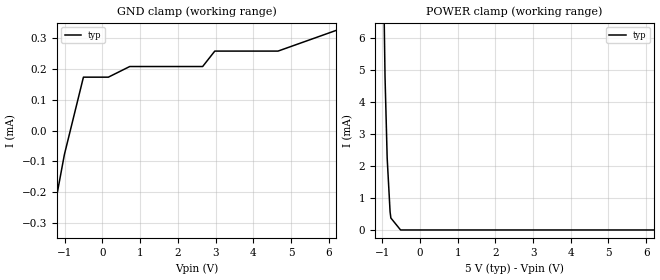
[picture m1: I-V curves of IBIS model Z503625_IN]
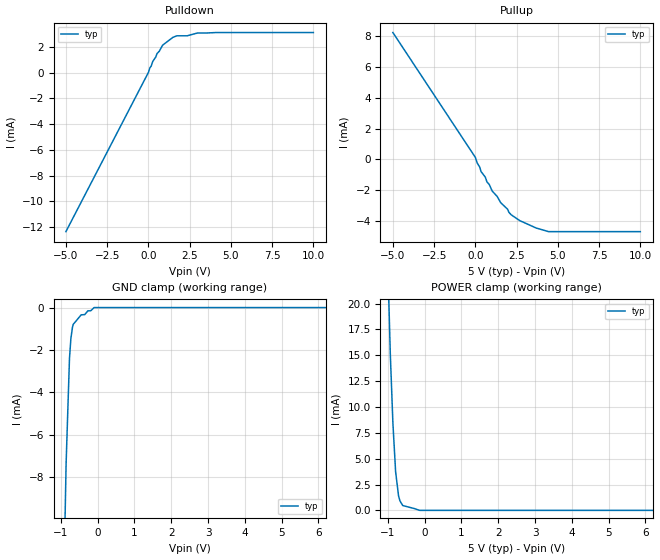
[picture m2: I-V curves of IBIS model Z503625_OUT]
| YOU ARE ONLY AUTHORIZED TO USE THIS SOFTWARE
| ACCORDING TO LICENSOR'S LICENSE RESTRICTIONS.
[IBIS Ver] 3.1
[File Name] mc14515bdw.ibs
[File Rev] 2.0
[Source] Measured and created by ICX Technology
[Date] Friday 7/14/00 9:07:56 AM
[Copyright]
| (C) COPYRIGHT 1993-2000
| MENTOR GRAPHICS CORPORATION
| ICX STANDARD LIBRARY, ICX PROJECT MODELING,
| ICX CUSTOM MODELING, ICX VENDOR MODEL
| ALL RIGHTS RESERVED.
| THE FOLLOWING ARE TRADEMARKS OR SERVICE MARKS OF
| MENTOR GRAPHICS CORPORATION:ICX (R), ICX STANDARD
| LIBRARY(R), ICX PROJECT MODELING(R), ICX CUSTOM
| MODELING(R), qualityIBIS(TM), MODELVIEWER(TM),
| AND MODELEDITOR(TM)
| ALL COPIES OF SOFTWARE, INCLUDING BUT NOT LIMITED TO
| ANY MODIFICATIONS, ENHANCEMENTS OR DERIVATIVE WORKS,
| MUST CONTAIN ALL MENTOR GRAPHICS CORPORATION'S
| NOTICES AND LEGENDS, INCLUDING THOSE EMBEDDED IN
| SOFTWARE AND THOSE AFFIXED TO SOFTWARE MEDIUM
| AND CONTAINER, AS RECEIVED FROM MENTOR GRAPHICS
| CORPORATION.
|  ZAP Model Builder 2.7
[Component] MC14515BDW
[Manufacturer] OnSemiconductor
[Package]
| variable   typ   min   max
R_pkg  .18ohms NA NA
L_pkg  4.67nH NA NA
C_pkg  .637pF NA NA
[Pin] signal_name  model_name  R_pin  L_pin C_pin
1 STRB Z503625_IN .19 5.862n .712p
2 D1 Z503625_IN .186 5.372n .682p
3 D2 Z503625_IN .182 4.892n .652p
4 S7 Z503625_OUT .178 4.422n .622p
5 S6 Z503625_OUT .174 3.962n .592p
6 S5 Z503625_OUT .17 3.512n .562p
7 S4 Z503625_OUT .17 3.512n .562p
8 S3 Z503625_OUT .174 3.962n .592p
9 S1 Z503625_OUT .178 4.422n .622p
10 S2 Z503625_OUT .182 4.892n .652p
11 S0 Z503625_OUT .186 5.372n .682p
12 VSS POWER .19 5.862n .712p
13 S13 Z503625_OUT .19 5.862n .712p
14 S12 Z503625_OUT .186 5.372n .682p
15 S15 Z503625_OUT .182 4.892n .652p
16 S14 Z503625_OUT .178 4.422n .622p
17 S9 Z503625_OUT .174 3.962n .592p
18 S8 Z503625_OUT .17 3.512n .562p
19 S11 Z503625_OUT .17 3.512n .562p
20 S10 Z503625_OUT .174 3.962n .592p
21 D3 Z503625_IN .178 4.422n .622p
22 D4 Z503625_IN .182 4.892n .652p
23 INH Z503625_IN .186 5.372n .682p
24 VDD POWER .19 5.862n .712p
| Models and submodels in the file (2): Z503625_IN (Input), Z503625_OUT (Output)
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| (C) COPYRIGHT 1993-2000
| MENTOR GRAPHICS CORPORATION
| ICX STANDARD LIBRARY, ICX PROJECT MODELING,
| ICX CUSTOM MODELING, ICX VENDOR MODEL
| ALL RIGHTS RESERVED.
| THE FOLLOWING ARE TRADEMARKS OR SERVICE MARKS OF
| MENTOR GRAPHICS CORPORATION:ICX (R), ICX STANDARD
| LIBRARY(R), ICX PROJECT MODELING(R), ICX CUSTOM
| MODELING(R), qualityIBIS(TM), MODELVIEWER(TM),
| AND MODELEDITOR(TM)
| ALL COPIES OF SOFTWARE, INCLUDING BUT NOT LIMITED TO
| ANY MODIFICATIONS, ENHANCEMENTS OR DERIVATIVE WORKS,
| MUST CONTAIN ALL MENTOR GRAPHICS CORPORATION'S
| NOTICES AND LEGENDS, INCLUDING THOSE EMBEDDED IN
| SOFTWARE AND THOSE AFFIXED TO SOFTWARE MEDIUM
| AND CONTAINER, AS RECEIVED FROM MENTOR GRAPHICS
| CORPORATION.
| Model Application Version 1.89 2/18/99.
[Model] Z503625_IN
Model_type Input
Vinl = 1.500V
Vinh = 3.500V
C_comp 4.000pF NA NA
| variable typ   min   max
[Voltage Range] 5.000V NA NA
[GND Clamp Reference] 0.000V NA NA
[POWER Clamp Reference] 5.000V NA NA
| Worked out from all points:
|   POWER clamp passes 1 mA (typ) near -0.81 V on its own axis
[GND Clamp]
-5V       -2.711mA   NA         NA
-1.009V   -78.04uA   NA         NA
-504.5mV  173.6uA    NA         NA
156.5mV   173.6uA    NA         NA
723.3mV   208.2uA    NA         NA
2.657V    208.2uA    NA         NA
2.979V    258.4uA    NA         NA
4.656V    258.4uA    NA         NA
10V       491.7uA    NA         NA
[POWER Clamp]
-5V       937.4mA    NA         NA
-1.191V   40.16mA    NA         NA
-1.055V   17.17mA    NA         NA
-1.001V   10.8mA     NA         NA
-926mV    4.771mA    NA         NA
-869mV    2.239mA    NA         NA
-792mV    563.9uA    NA         NA
-771mV    372.8uA    NA         NA
-514mV    0A         NA         NA
10V       0A         NA         NA
| (C) COPYRIGHT 1993-2000
| MENTOR GRAPHICS CORPORATION
| ICX STANDARD LIBRARY, ICX PROJECT MODELING,
| ICX CUSTOM MODELING, ICX VENDOR MODEL
| ALL RIGHTS RESERVED.
| THE FOLLOWING ARE TRADEMARKS OR SERVICE MARKS OF
| MENTOR GRAPHICS CORPORATION:ICX (R), ICX STANDARD
| LIBRARY(R), ICX PROJECT MODELING(R), ICX CUSTOM
| MODELING(R), qualityIBIS(TM), MODELVIEWER(TM),
| AND MODELEDITOR(TM)
| ALL COPIES OF SOFTWARE, INCLUDING BUT NOT LIMITED TO
| ANY MODIFICATIONS, ENHANCEMENTS OR DERIVATIVE WORKS,
| MUST CONTAIN ALL MENTOR GRAPHICS CORPORATION'S
| NOTICES AND LEGENDS, INCLUDING THOSE EMBEDDED IN
| SOFTWARE AND THOSE AFFIXED TO SOFTWARE MEDIUM
| AND CONTAINER, AS RECEIVED FROM MENTOR GRAPHICS
| CORPORATION.
| Model Application Version 1.89 2/18/99.
[Model] Z503625_OUT
Model_type Output
Vref=0.000V
Rref=500.0Mohms
Cref=50.00pF
Vmeas=2.500V
C_comp 8.000pF NA NA
| variable typ   min   max
[Voltage Range] 5.000V NA NA
[POWER Clamp Reference] 5.000V NA NA
[Pullup Reference] 5.000V NA NA
[Pulldown Reference] 0.000V NA NA
[GND Clamp Reference] 0.000V NA NA
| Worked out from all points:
|   slope of the pulldown table from 0 to 0.75 V, typ, clamps not added: 403 ohm
|   slope of the pullup table from 0 to 0.75 V, typ, clamps not added: 454 ohm
|   GND clamp passes 1 mA (typ) near -0.69 V on its own axis
|   POWER clamp passes 1 mA (typ) near -0.68 V on its own axis
[GND Clamp]
-5V       -382.2mA   NA         NA
-857.9mV  -7.353mA   NA         NA
-766mV    -2.386mA   NA         NA
-727.8mV  -1.453mA   NA         NA
-684.1mV  -918.1uA   NA         NA
-664mV    -789.9uA   NA         NA
-448.6mV  -343.7uA   NA         NA
-350.7mV  -331.3uA   NA         NA
-267.9mV  -156.1uA   NA         NA
-190.1mV  -150.4uA   NA         NA
-95.05mV  0A         NA         NA
10V       0A         NA         NA
[Pulldown]
-5V       -12.37mA   NA         NA
8.278mV   41.91uA    NA         NA
86.82mV   375uA      NA         NA
168.8mV   512.2uA    NA         NA
265.9mV   886.8uA    NA         NA
524.3mV   1.494mA    NA         NA
864.2mV   2.149mA    NA         NA
1.483V    2.753mA    NA         NA
1.72V     2.877mA    NA         NA
2.349V    2.877mA    NA         NA
2.977V    3.095mA    NA         NA
10V       3.131mA    NA         NA
[Pullup]
-5V       8.255mA    NA         NA
4mV       113.3uA    NA         NA
262mV     -509.6uA   NA         NA
344mV     -802.8uA   NA         NA
602mV     -1.166mA   NA         NA
703mV     -1.476mA   NA         NA
840mV     -1.642mA   NA         NA
1.019V    -2.07mA    NA         NA
2.178V    -3.623mA   NA         NA
2.693V    -4.001mA   NA         NA
4.428V    -4.718mA   NA         NA
10V       -4.718mA   NA         NA
[POWER Clamp]
-5V       855.2mA    NA         NA
-1.161V   48.97mA    NA         NA
-1.041V   28.82mA    NA         NA
-933mV    15.09mA    NA         NA
-862mV    8.378mA    NA         NA
-789mV    3.732mA    NA         NA
-709mV    1.398mA    NA         NA
-671mV    914.5uA    NA         NA
-595mV    467.1uA    NA         NA
-274mV    166.5uA    NA         NA
-137mV    0A         NA         NA
10V       0A         NA         NA
[Ramp]
| variable typ min max
dV/dt_r 2.496/12.49n NA NA
dV/dt_f 2.496/15.20n NA NA
R_load = 2.500kOhms
